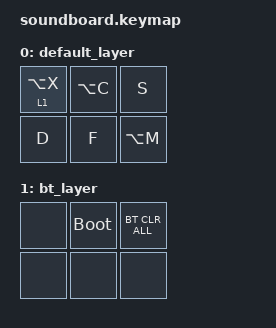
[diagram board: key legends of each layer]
#include <behaviors.dtsi>
#include <dt-bindings/zmk/keys.h>
#include <dt-bindings/zmk/bt.h>

&lt {
    tapping-term-ms = <200>;
};

/ {
    keymap {
        compatible = "zmk,keymap";

        default_layer {
            bindings = <
                &lt 1 LA(X)   &kp LA(C)   &kp S
                &kp D   &kp F   &kp LA(M)
            >;
        };

        bt_layer {
            bindings = <
                &none   &bootloader   &bt BT_CLR_ALL
                &none   &none   &none
            >;
        };
    };
};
